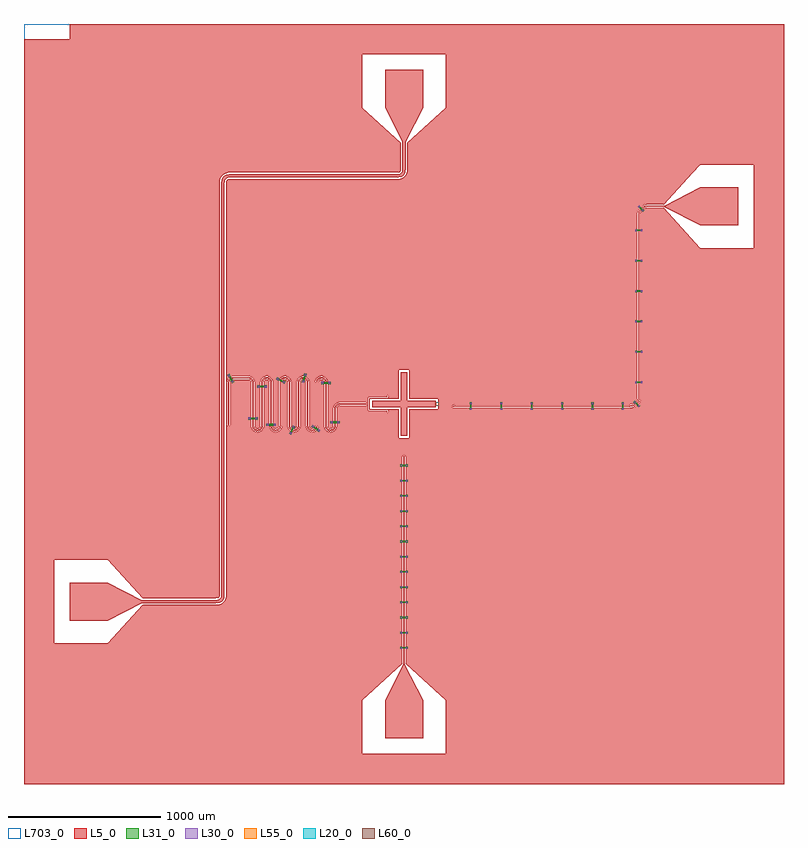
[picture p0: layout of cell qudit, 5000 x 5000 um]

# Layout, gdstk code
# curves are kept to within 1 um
import gdstk
lib = gdstk.Library(unit=1e-6, precision=1e-09)
def R(c, l, rs):  # rectangles x0, y0, x1, y1
    for r in rs: c.add(gdstk.rectangle(r[:2], r[2:], *l))
def A(c, l, x, y, w, h, nx, ny, dx, dy):  # array of equal rectangles
    R(c, l, [(x+i*dx, y+j*dy, x+i*dx+w, y+j*dy+h) for i in range(nx) for j in range(ny)])
def P(c, l, *ps):  # polygons
    for p in ps: c.add(gdstk.Polygon(p, *l))
L5_0 = (5, 0)
L20_0 = (20, 0)
L30_0 = (30, 0)
L31_0 = (31, 0)
L55_0 = (55, 0)
L60_0 = (60, 0)
L703_0 = (703, 0)

qudit = lib.new_cell('qudit')
P(qudit, L5_0, [(-125,-2200),(-125,-1950),(-5,-1713.945),(-5,-347),(-2.5,-336.5),(-2.5,-243),(2.5,-243),(2.5,-336.5),(5,-347),(5,-1713.945),(125,-1950),(125,-2200)],
  [(-20,-210),(-20,-20),(-210,-20),(-210,20),(-20,20),(-20,210),(20,210),(20,20),(210,20),(210,-20),(20,-20),(20,-210)],
  [(-2200,-1425),(-2200,-1175),(-1950,-1175),(-1723.78,-1290),(-1234.283,-1289.946),(-1216.903,-1286.905),(-1210.583,-1282.871),(-1205.825,-1277.326),(-1202.059,-1267.436),(-1201.002,-1252.381),(-1201,1451.349),(-1200.207,1467.362),(-1197.154,1479.858),(-1189.951,1492.367),(-1178.876,1502.167),(-1165.753,1507.778),(-1148.932,1509.92),(-47.619,1510.002),(-33.414,1510.902),(-24.172,1513.947),(-18.382,1518.246),(-14.04,1524.003),(-10.229,1539.281),(-10,1723.781),(-125,1950),(-125,2200),(125,2200),(125,1950),(10,1723.78),(9.428,1534.483),(6.991,1522.536),(2.167,1512.124),(-5.038,1503.328),(-14.055,1496.687),(-28.103,1491.556),(-46.455,1490.007),(-1147.093,1489.96),(-1158.436,1488.941),(-1166.828,1486.053),(-1173.871,1480.417),(-1178.457,1472.757),(-1181,1451.33),(-1181.004,-1252.991),(-1182.796,-1273.005),(-1189.018,-1288.168),(-1196.798,-1297.376),(-1206.731,-1304.207),(-1218.154,-1308.24),(-1232.053,-1309.886),(-1723.781,-1310),(-1950,-1425)],
  [(-0.065,-2500),(-0.065,-2300),(275,-2300),(275,-1950),(11,-1708.905),(11,-347),(5.5,-336.5),(5.5,-240),(-0.065,-240),(-0.065,-225),(35,-225),(35,-35),(225,-35),(225,35),(35,35),(35,225),(-0.065,225),(-0.065,1491.737),(12.097,1505.376),(19.337,1522.019),(21.807,1538.986),(22,1575),(2300,1575),(1948.634,1573.505),(1707.992,1310),(1599.137,1309.977),(1580.844,1308.506),(1568.409,1304.931),(1557.588,1298.858),(1548.5,1290.409),(1541.581,1279.91),(1536.494,1264.156),(1535.006,1243.791),(1534.96,39.096),(1531.646,17.537),(1527.333,9.881),(1521.119,3.667),(1508.31,-2.257),(1488.952,-3.993),(333,-4),(316.8,-13),(234,-13),(234,17),(231,17),(231,-16),(318.3,-16),(333,-9),(1490.949,-8.975),(1509.95,-7.003),(1523.188,-1.016),(1530.659,6.019),(1535.982,14.931),(1538.872,25.239),(1539.959,39.007),(1540.004,1243.361),(1541.242,1262.274),(1545.598,1276.735),(1551.834,1286.6),(1560.414,1294.73),(1570.875,1300.537),(1582.726,1303.758),(1600.012,1304.986),(1713.945,1305),(1950,1425),(2200,1425),(2200,1175),(1950,1175),(1713.945,1295),(1585.706,1294.1),(1575.359,1291.55),(1567.103,1287.22),(1559.715,1280.439),(1554.545,1272.26),(1550.991,1259.907),(1550.003,1243.057),(1549.955,38.692),(1548.686,23.301),(1545.312,11.322),(1539.19,0.693),(1530.663,-7.915),(1513.516,-16.406),(1489.988,-18.986),(231,-19),(231,-36),(234,-36),(234,-22),(317,-22),(332,-24),(1489.893,-23.987),(1515.139,-21.145),(1524.91,-17.419),(1533.867,-11.757),(1543.264,-2.21),(1549.803,9.103),(1553.587,22.301),(1554.946,38.178),(1555.003,1243.04),(1555.933,1259.149),(1559.256,1270.529),(1564.025,1277.789),(1570.467,1283.463),(1577.897,1287.151),(1587.329,1289.275),(1707.992,1290),(1950,1025),(2300,1025),(2300,1575),(22,1575),(22,1718.95),(275,1950),(275,2300),(-0.065,2300),(-0.065,2500),(2500,2500),(2500,-2500)],
  [(-2500,2300),(-2500,2400),(-2200,2400),(-2200,2500),(-0.065,2500),(-0.065,2300)],
  [(-1169,225),(-1168.998,1452.346),(-1168.044,1465.717),(-1164.553,1472.835),(-1157.467,1476.868),(-1144.099,1477.995),(-44.018,1478.033),(-19.466,1481.395),(-9.338,1485.592),(-0.065,1491.737),(-0.065,225)],
  [(-1169,-240),(-1169,182.564),(-1124.044,182.564),(-1138.632,179.864),(-1151.338,172.12),(-1160.443,160.351),(-1164.67,146.754),(-1165,-143.436),(-1159,-143.436),(-1158.785,145.443),(-1155.36,157.106),(-1148.153,166.895),(-1138.033,173.628),(-1126.774,176.454),(-1019.019,176.208),(-1010.478,173.847),(-1003.248,169.749),(-996.835,163.633),(-992.163,156.104),(-989.004,142.119),(-988.949,-145.022),(-987.209,-152.727),(-983.151,-159.505),(-977.18,-164.679),(-969.894,-167.731),(-959.659,-168.056),(-950.152,-164.25),(-942.969,-156.952),(-939.452,-148.167),(-938.842,144.891),(-935.603,156.607),(-929.331,165.717),(-919.543,172.924),(-908.981,176.208),(-895.748,175.578),(-883.698,170.075),(-873.97,159.543),(-869.439,147.094),(-868.949,-145.022),(-867.209,-152.727),(-863.651,-158.89),(-857.848,-164.25),(-850.662,-167.531),(-840.442,-168.181),(-830.82,-164.679),(-823.409,-157.612),(-819.452,-148.167),(-818.842,144.891),(-815.603,156.607),(-809.331,165.717),(-799.543,172.924),(-788.981,176.208),(-775.748,175.578),(-763.698,170.075),(-753.97,159.543),(-749.439,147.094),(-748.949,-145.022),(-747.209,-152.727),(-743.651,-158.89),(-738.501,-163.8),(-732.176,-167.06),(-722.019,-168.357),(-711.5,-165.086),(-703.869,-158.258),(-699.452,-148.167),(-698.842,144.891),(-696.064,155.597),(-690.085,164.901),(-680.53,172.415),(-670.078,176.033),(-656.832,175.823),(-643.698,170.075),(-633.97,159.543),(-629.439,147.094),(-628.949,-145.022),(-627.492,-151.986),(-624.131,-158.258),(-613.658,-166.494),(-602.81,-168.407),(-592.194,-165.472),(-583.869,-158.258),(-579.452,-148.167),(-578.842,144.891),(-576.064,155.597),(-570.085,164.901),(-561.5,171.875),(-551.168,175.823),(-536.832,175.823),(-523.698,170.075),(-513.97,159.543),(-509.439,147.094),(-508.987,-144.229),(-505.031,-156.952),(-495.806,-165.472),(-485.981,-168.357),(-475.078,-166.789),(-465.907,-160.688),(-460.508,-151.986),(-459.013,-144.229),(-458.468,-25.358),(-455.603,-16.393),(-450.084,-8.099),(-442.453,-1.695),(-433.861,2.146),(-424.02,3.564),(-244,3.564),(-244,54),(-109,54),(-109,44),(-234,44),(-234,-44),(-109,-44),(-109,-54),(-244,-54),(-244,-6.436),(-423.98,-6.436),(-431.423,-7.564),(-437.848,-10.622),(-443.151,-15.366),(-446.903,-21.413),(-448.799,-28.271),(-449.017,-144.546),(-451.507,-156.444),(-459.448,-168.381),(-471.509,-176.132),(-485.665,-178.397),(-499.543,-174.796),(-506.921,-169.888),(-513.444,-162.359),(-517.253,-154.357),(-518.93,-145.656),(-519.315,145.514),(-522.969,155.08),(-530.152,162.378),(-539.659,166.184),(-549.894,165.859),(-557.18,162.807),(-563.151,157.633),(-567.209,150.855),(-568.949,143.15),(-569.632,-150.06),(-575.815,-164.188),(-587.47,-174.287),(-601.226,-178.327),(-616.491,-176.132),(-625.197,-171.288),(-632.185,-164.188),(-636.89,-155.407),(-638.93,-145.656),(-639.315,145.514),(-642.969,155.08),(-650.152,162.378),(-659.659,166.184),(-669.12,166.033),(-677.18,162.807),(-683.151,157.633),(-687.209,150.855),(-688.949,143.15),(-689.632,-150.06),(-695.171,-163.283),(-705.547,-173.177),(-720.121,-178.221),(-734.392,-176.858),(-744.302,-171.947),(-751.512,-165.072),(-756.89,-155.407),(-758.93,-145.656),(-759.315,145.514),(-762.969,155.08),(-769.499,161.928),(-778.106,165.859),(-788.341,166.184),(-796.5,163.214),(-802.631,158.233),(-807.209,150.855),(-808.949,143.15),(-809.632,-150.06),(-815.171,-163.283),(-825.547,-173.177),(-839.019,-178.08),(-853.327,-177.171),(-862.453,-173.177),(-870.812,-165.934),(-876.064,-157.469),(-878.842,-146.763),(-879.315,145.514),(-882.551,154.406),(-888.86,161.458),(-898.106,165.859),(-907.558,166.309),(-915.806,163.6),(-922.093,158.816),(-926.902,151.587),(-928.949,143.15),(-929.632,-150.06),(-934.556,-162.359),(-944.612,-172.576),(-956.832,-177.695),(-971.168,-177.695),(-981.5,-173.747),(-990.085,-166.773),(-996.064,-157.469),(-998.842,-146.763),(-999.003,141.961),(-1001.259,151.949),(-1009.177,161.696),(-1021.229,166.41),(-1125.981,166.485),(-1134.385,164.305),(-1141.537,159.381),(-1146.741,151.949),(-1148.921,143.545),(-1149,-143.436),(-1143,-143.436),(-1142.94,143.07),(-1141.283,149.457),(-1137.541,154.892),(-1131.893,158.847),(-1125.506,160.504),(-1022.194,160.478),(-1012.979,157.041),(-1006.594,149.182),(-1005,141.52),(-1004.816,-147.333),(-1001.562,-159.875),(-994.557,-170.774),(-984.501,-178.944),(-972.397,-183.568),(-955.603,-183.568),(-941.289,-177.573),(-929.507,-165.603),(-923.74,-151.196),(-922.96,142.769),(-921.405,149.181),(-917.75,154.675),(-912.437,158.587),(-906.704,160.369),(-898.937,159.876),(-892.02,156.31),(-887.113,150.27),(-885.04,142.769),(-884.486,-149.914),(-881.021,-161.058),(-874.557,-170.774),(-865.617,-178.276),(-854.926,-182.955),(-838.165,-184.02),(-822.383,-178.276),(-810.228,-166.686),(-803.74,-151.196),(-802.96,142.769),(-801.638,148.625),(-798.159,154.232),(-793.499,158.017),(-787.299,160.274),(-778.937,159.876),(-772.02,156.31),(-767.113,150.27),(-765.04,142.769),(-764.486,-149.914),(-761.562,-159.875),(-755.409,-169.791),(-746.711,-177.573),(-736.174,-182.588),(-719.455,-184.185),(-710.59,-182.182),(-702.383,-178.276),(-690.228,-166.686),(-683.74,-151.196),(-682.96,142.769),(-681.638,148.625),(-678.159,154.232),(-667.891,160.16),(-660.109,160.16),(-652.494,156.682),(-647.113,150.27),(-645.04,142.769),(-644.672,-148.626),(-641.562,-159.875),(-636.229,-168.781),(-627.783,-176.835),(-618.633,-181.737),(-602.049,-184.391),(-593.074,-182.955),(-584.636,-179.577),(-577.15,-174.423),(-570.983,-167.746),(-566.438,-159.875),(-563.74,-151.196),(-562.96,142.769),(-558.554,153.776),(-548.479,160.027),(-540.701,160.274),(-533.476,157.382),(-528.017,151.835),(-525.154,143.969),(-524.919,-146.036),(-522.954,-156.23),(-518.493,-165.603),(-510.85,-174.423),(-502.207,-180.173),(-485.951,-184.391),(-469.367,-181.737),(-456.18,-173.555),(-446.438,-159.875),(-443.019,-144.737),(-442.883,-29.33),(-438.555,-19.223),(-429.641,-13.293),(-249,-12.436),(-249,-59),(-104,-59),(-104,-39),(-229,-39),(-229,39),(-104,39),(-104,59),(-249,59),(-249,9.564),(-425.951,9.518),(-439.84,6.381),(-451.338,-0.88),(-460.443,-12.649),(-464.815,-27.539),(-465.61,-148.207),(-469.446,-155.648),(-476.108,-160.718),(-484.904,-162.413),(-492.972,-160.182),(-499.983,-153.707),(-502.989,-144.039),(-503.514,148.042),(-509.507,163.731),(-520.217,174.963),(-535.603,181.696),(-552.397,181.696),(-563.364,177.705),(-573.674,169.858),(-581.021,159.186),(-584.486,148.042),(-585.087,-145.242),(-588.017,-153.707),(-593.983,-159.58),(-602.494,-162.375),(-611.34,-160.959),(-619.649,-154.209),(-622.989,-144.039),(-623.514,148.042),(-629.507,163.731),(-640.217,174.963),(-654.334,181.41),(-671.12,181.942),(-683.364,177.705),(-693.674,169.858),(-701.021,159.186),(-704.486,148.042),(-705.087,-145.242),(-708.017,-153.707),(-713.983,-159.58),(-721.894,-162.318),(-730.214,-161.39),(-739.299,-154.7),(-742.989,-144.039),(-743.514,148.042),(-749.507,163.731),(-760.217,174.963),(-774.334,181.41),(-789.835,182.148),(-802.207,178.301),(-812.761,170.785),(-820.443,160.352),(-824.486,148.042),(-825.087,-145.242),(-827.7,-153.195),(-833.476,-159.254),(-841.296,-162.241),(-849.641,-161.578),(-858.934,-155.18),(-862.989,-144.039),(-863.514,148.042),(-868.821,162.625),(-879.169,174.191),(-893.074,181.083),(-908.545,182.313),(-921.033,178.86),(-931.82,171.683),(-939.829,161.499),(-944.486,148.042),(-945.087,-145.242),(-947.7,-153.195),(-953.476,-159.254),(-960.701,-162.146),(-969.063,-161.748),(-978.554,-155.648),(-982.96,-144.641),(-983.005,142.215),(-984.155,151.23),(-987.557,160.351),(-993.014,168.414),(-1000.217,174.962),(-1008.762,179.627),(-1018.81,182.234),(-1169,182.564),(-1169,225),(-35,225),(-35,35),(-225,35),(-225,-35),(-35,-35),(-35,-225),(-0.065,-225),(-0.065,-240)],
  [(-2500,-2500),(-2500,2300),(-275,2300),(-275,1950),(-22,1718.95),(-22.069,1542.91),(-23.481,1532.306),(-27.39,1526.243),(-34.425,1522.926),(-47.654,1522.002),(-1151.039,1521.852),(-1171.93,1518.481),(-1188.864,1509.869),(-1202.379,1495.721),(-1210.337,1477.981),(-1212.999,1452.055),(-1213,-1251.319),(-1213.493,-1262.981),(-1215.408,-1269.941),(-1222.354,-1276.181),(-1235.73,-1277.973),(-1718.95,-1278),(-1950,-1025),(-2300,-1025),(-2300,-1575),(-1950,-1575),(-1718.95,-1322),(-1231.282,-1321.865),(-1216.678,-1320.197),(-1204.272,-1316.308),(-1193.136,-1309.869),(-1183.575,-1300.943),(-1177.113,-1291.622),(-1172.582,-1281.128),(-1169.026,-1255.531),(-1169,-240),(-5.5,-240),(-5.5,-336.5),(-11,-347),(-11,-1708.905),(-275,-1950),(-275,-2300),(-0.065,-2300),(-0.065,-2500)])
R(qudit, L20_0, [(218.5,-11.5,224,-8.5), (218.5,8.5,224,11.5)])
P(qudit, L20_0, [(211,-11.5),(211,-8.5),(216.5,-8.5),(217,-9.675),(218.36,-9.675),(218.36,-10.325),(217,-10.325),(216.5,-11.5)],
  [(211,8.5),(211,11.5),(216.5,11.5),(217,10.06),(218.36,10.06),(218.36,9.94),(217,9.94),(216.5,8.5)])
A(qudit, L30_0, -22.5, -1610, 10, 10.5, 1, 13, 0, 100)
A(qudit, L30_0, 12.5, -1610, 10, 10.5, 1, 13, 0, 100)
A(qudit, L30_0, 434.75, -36.5, 10.5, 10, 6, 2, 200, 35)
A(qudit, L30_0, 1522.5, 137.75, 10, 10.5, 1, 6, 0, 200)
A(qudit, L30_0, 1557.5, 137.75, 10, 10.5, 1, 6, 0, 200)
R(qudit, L30_0, [(-903.5,-142.984,-889.5,-129.984), (-858.5,-142.984,-844.5,-129.984), (-483.5,-126.595,-469.5,-113.595), (-438.5,-126.595,-424.5,-113.595), (-1023.5,-101.472,-1009.5,-88.472), (-978.5,-101.472,-964.5,-88.472), (-963.5,107.356,-949.5,120.356), (-918.5,107.356,-904.5,120.356), (-543.5,132.479,-529.5,145.479), (-498.5,132.479,-484.5,145.479)])
P(qudit, L30_0, [(-742.07,-200.472),(-753.979,-195.26),(-748.366,-182.435),(-736.457,-187.647)],
  [(-559.078,-182.922),(-570.482,-174.802),(-562.942,-164.212),(-551.538,-172.333)],
  [(-724.028,-159.247),(-735.937,-154.035),(-730.324,-141.21),(-718.415,-146.422)],
  [(-595.734,-156.82),(-607.138,-148.699),(-599.598,-138.11),(-588.194,-146.23)],
  [(1543.676,-20.151),(1536.616,-13.068),(1544.052,-5.655),(1551.112,-12.738)],
  [(1518.966,4.637),(1511.906,11.72),(1519.342,19.133),(1526.402,12.05)],
  [(-787.331,135.961),(-799.875,142.178),(-794.102,153.826),(-781.558,147.609)],
  [(-1129.74,138.649),(-1137.027,150.604),(-1125.927,157.37),(-1118.64,145.416)],
  [(-657.981,140.314),(-670.455,143.976),(-666.511,157.409),(-654.037,153.747)],
  [(-827.65,155.944),(-840.194,162.161),(-834.421,173.809),(-821.877,167.592)],
  [(-1153.161,177.074),(-1160.448,189.028),(-1149.348,195.795),(-1142.061,183.84)],
  [(-645.303,183.491),(-657.777,187.153),(-653.833,200.586),(-641.359,196.924)],
  [(1570.72,1266.906),(1563.637,1273.966),(1571.05,1281.402),(1578.133,1274.342)],
  [(1545.932,1291.616),(1538.849,1298.676),(1546.262,1306.112),(1553.345,1299.052)])
P(qudit, L31_0, [(-24,-1611.5),(-24,-1598),(-11,-1598),(-11,-1601),(11,-1601),(11,-1598),(24,-1598),(24,-1611.5),(11,-1611.5),(11,-1608.5),(-11,-1608.5),(-11,-1611.5)],
  [(-24,-1511.5),(-24,-1498),(-11,-1498),(-11,-1501),(11,-1501),(11,-1498),(24,-1498),(24,-1511.5),(11,-1511.5),(11,-1508.5),(-11,-1508.5),(-11,-1511.5)],
  [(-24,-1411.5),(-24,-1398),(-11,-1398),(-11,-1401),(11,-1401),(11,-1398),(24,-1398),(24,-1411.5),(11,-1411.5),(11,-1408.5),(-11,-1408.5),(-11,-1411.5)],
  [(-24,-1311.5),(-24,-1298),(-11,-1298),(-11,-1301),(11,-1301),(11,-1298),(24,-1298),(24,-1311.5),(11,-1311.5),(11,-1308.5),(-11,-1308.5),(-11,-1311.5)],
  [(-24,-1211.5),(-24,-1198),(-11,-1198),(-11,-1201),(11,-1201),(11,-1198),(24,-1198),(24,-1211.5),(11,-1211.5),(11,-1208.5),(-11,-1208.5),(-11,-1211.5)],
  [(-24,-1111.5),(-24,-1098),(-11,-1098),(-11,-1101),(11,-1101),(11,-1098),(24,-1098),(24,-1111.5),(11,-1111.5),(11,-1108.5),(-11,-1108.5),(-11,-1111.5)],
  [(-24,-1011.5),(-24,-998),(-11,-998),(-11,-1001),(11,-1001),(11,-998),(24,-998),(24,-1011.5),(11,-1011.5),(11,-1008.5),(-11,-1008.5),(-11,-1011.5)],
  [(-24,-911.5),(-24,-898),(-11,-898),(-11,-901),(11,-901),(11,-898),(24,-898),(24,-911.5),(11,-911.5),(11,-908.5),(-11,-908.5),(-11,-911.5)],
  [(-24,-811.5),(-24,-798),(-11,-798),(-11,-801),(11,-801),(11,-798),(24,-798),(24,-811.5),(11,-811.5),(11,-808.5),(-11,-808.5),(-11,-811.5)],
  [(-24,-711.5),(-24,-698),(-11,-698),(-11,-701),(11,-701),(11,-698),(24,-698),(24,-711.5),(11,-711.5),(11,-708.5),(-11,-708.5),(-11,-711.5)],
  [(-24,-611.5),(-24,-598),(-11,-598),(-11,-601),(11,-601),(11,-598),(24,-598),(24,-611.5),(11,-611.5),(11,-608.5),(-11,-608.5),(-11,-611.5)],
  [(-24,-511.5),(-24,-498),(-11,-498),(-11,-501),(11,-501),(11,-498),(24,-498),(24,-511.5),(11,-511.5),(11,-508.5),(-11,-508.5),(-11,-511.5)],
  [(-24,-411.5),(-24,-398),(-11,-398),(-11,-401),(11,-401),(11,-398),(24,-398),(24,-411.5),(11,-411.5),(11,-408.5),(-11,-408.5),(-11,-411.5)],
  [(-741.297,-202.448),(-755.955,-196.033),(-749.139,-180.459),(-746.391,-181.662),(-735.165,-156.011),(-737.913,-154.808),(-731.097,-139.234),(-716.439,-145.649),(-723.255,-161.223),(-726.003,-160.02),(-737.229,-185.671),(-734.481,-186.874)],
  [(-558.727,-185.014),(-572.574,-175.153),(-570.834,-172.71),(-593.642,-156.468),(-595.383,-158.912),(-609.23,-149.051),(-599.949,-136.018),(-586.102,-145.879),(-587.842,-148.322),(-565.034,-164.564),(-563.293,-162.12),(-549.446,-171.981)],
  [(-905,-144.484),(-905,-128.484),(-888,-128.484),(-888,-131.484),(-860,-131.484),(-860,-128.484),(-843,-128.484),(-843,-144.484),(-860,-144.484),(-860,-141.484),(-888,-141.484),(-888,-144.484)],
  [(-485,-128.095),(-485,-112.095),(-468,-112.095),(-468,-115.095),(-440,-115.095),(-440,-112.095),(-423,-112.095),(-423,-128.095),(-440,-128.095),(-440,-125.095),(-468,-125.095),(-468,-128.095)],
  [(-1025,-102.972),(-1025,-86.972),(-1008,-86.972),(-1008,-89.972),(-980,-89.972),(-980,-86.972),(-963,-86.972),(-963,-102.972),(-980,-102.972),(-980,-99.972),(-1008,-99.972),(-1008,-102.972)],
  [(433.25,-38),(433.25,-25),(436.25,-25),(436.25,-3),(433.25,-3),(433.25,10),(446.75,10),(446.75,-3),(443.75,-3),(443.75,-25),(446.75,-25),(446.75,-38)],
  [(633.25,-38),(633.25,-25),(636.25,-25),(636.25,-3),(633.25,-3),(633.25,10),(646.75,10),(646.75,-3),(643.75,-3),(643.75,-25),(646.75,-25),(646.75,-38)],
  [(833.25,-38),(833.25,-25),(836.25,-25),(836.25,-3),(833.25,-3),(833.25,10),(846.75,10),(846.75,-3),(843.75,-3),(843.75,-25),(846.75,-25),(846.75,-38)],
  [(1033.25,-38),(1033.25,-25),(1036.25,-25),(1036.25,-3),(1033.25,-3),(1033.25,10),(1046.75,10),(1046.75,-3),(1043.75,-3),(1043.75,-25),(1046.75,-25),(1046.75,-38)],
  [(1233.25,-38),(1233.25,-25),(1236.25,-25),(1236.25,-3),(1233.25,-3),(1233.25,10),(1246.75,10),(1246.75,-3),(1243.75,-3),(1243.75,-25),(1246.75,-25),(1246.75,-38)],
  [(1433.25,-38),(1433.25,-25),(1436.25,-25),(1436.25,-3),(1433.25,-3),(1433.25,10),(1446.75,10),(1446.75,-3),(1443.75,-3),(1443.75,-25),(1446.75,-25),(1446.75,-38)],
  [(1543.672,-22.272),(1534.494,-13.065),(1536.619,-10.947),(1521.087,4.634),(1518.963,2.516),(1509.785,11.723),(1519.346,21.254),(1528.524,12.047),(1526.399,9.929),(1541.931,-5.652),(1544.055,-3.534),(1553.233,-12.741)],
  [(-965,105.856),(-965,121.856),(-948,121.856),(-948,118.856),(-920,118.856),(-920,121.856),(-903,121.856),(-903,105.856),(-920,105.856),(-920,108.856),(-948,108.856),(-948,105.856)],
  [(-545,130.979),(-545,146.979),(-528,146.979),(-528,143.979),(-500,143.979),(-500,146.979),(-483,146.979),(-483,130.979),(-500,130.979),(-500,133.979),(-528,133.979),(-528,130.979)],
  [(1521,136.25),(1521,149.75),(1534,149.75),(1534,146.75),(1556,146.75),(1556,149.75),(1569,149.75),(1569,136.25),(1556,136.25),(1556,139.25),(1534,139.25),(1534,136.25)],
  [(-786.653,133.951),(-801.885,141.5),(-800.552,144.188),(-825.64,156.622),(-826.972,153.934),(-842.204,161.483),(-835.099,175.819),(-819.867,168.27),(-821.2,165.582),(-796.112,153.148),(-794.78,155.836),(-779.548,148.287)],
  [(-1130.241,136.588),(-1139.089,151.104),(-1136.527,152.665),(-1151.1,176.574),(-1153.662,175.013),(-1162.51,189.529),(-1148.847,197.856),(-1139.999,183.34),(-1142.561,181.779),(-1127.988,157.87),(-1125.426,159.431),(-1116.578,144.915)],
  [(-656.965,138.452),(-672.317,142.96),(-667.527,159.271),(-664.649,158.426),(-656.76,185.292),(-659.639,186.137),(-654.849,202.448),(-639.497,197.94),(-644.287,181.629),(-647.165,182.474),(-655.054,155.608),(-652.175,154.763)],
  [(1521,336.25),(1521,349.75),(1534,349.75),(1534,346.75),(1556,346.75),(1556,349.75),(1569,349.75),(1569,336.25),(1556,336.25),(1556,339.25),(1534,339.25),(1534,336.25)],
  [(1521,536.25),(1521,549.75),(1534,549.75),(1534,546.75),(1556,546.75),(1556,549.75),(1569,549.75),(1569,536.25),(1556,536.25),(1556,539.25),(1534,539.25),(1534,536.25)],
  [(1521,736.25),(1521,749.75),(1534,749.75),(1534,746.75),(1556,746.75),(1556,749.75),(1569,749.75),(1569,736.25),(1556,736.25),(1556,739.25),(1534,739.25),(1534,736.25)],
  [(1521,936.25),(1521,949.75),(1534,949.75),(1534,946.75),(1556,946.75),(1556,949.75),(1569,949.75),(1569,936.25),(1556,936.25),(1556,939.25),(1534,939.25),(1534,936.25)],
  [(1521,1136.25),(1521,1149.75),(1534,1149.75),(1534,1146.75),(1556,1146.75),(1556,1149.75),(1569,1149.75),(1569,1136.25),(1556,1136.25),(1556,1139.25),(1534,1139.25),(1534,1136.25)],
  [(1570.723,1264.785),(1561.516,1273.963),(1563.634,1276.087),(1548.053,1291.619),(1545.935,1289.494),(1536.728,1298.672),(1546.259,1308.233),(1555.466,1299.055),(1553.348,1296.931),(1568.929,1281.399),(1571.047,1283.524),(1580.254,1274.346)])
R(qudit, L55_0, [(208,-11.5,211,11.5), (224,-11.5,227,11.5)])
P(qudit, L60_0, [(216.5,-11.5),(216.5,-8.5),(217,-9.675),(218.5,-9.675),(218.5,-10.325),(217,-10.325)],
  [(216.5,8.5),(216.5,11.5),(217,10.06),(218.5,10.06),(218.5,9.94),(217,9.94)])
R(qudit, L703_0, [(-2500,-2500,2500,2500)])

lib.write_gds('qudit.gds')
